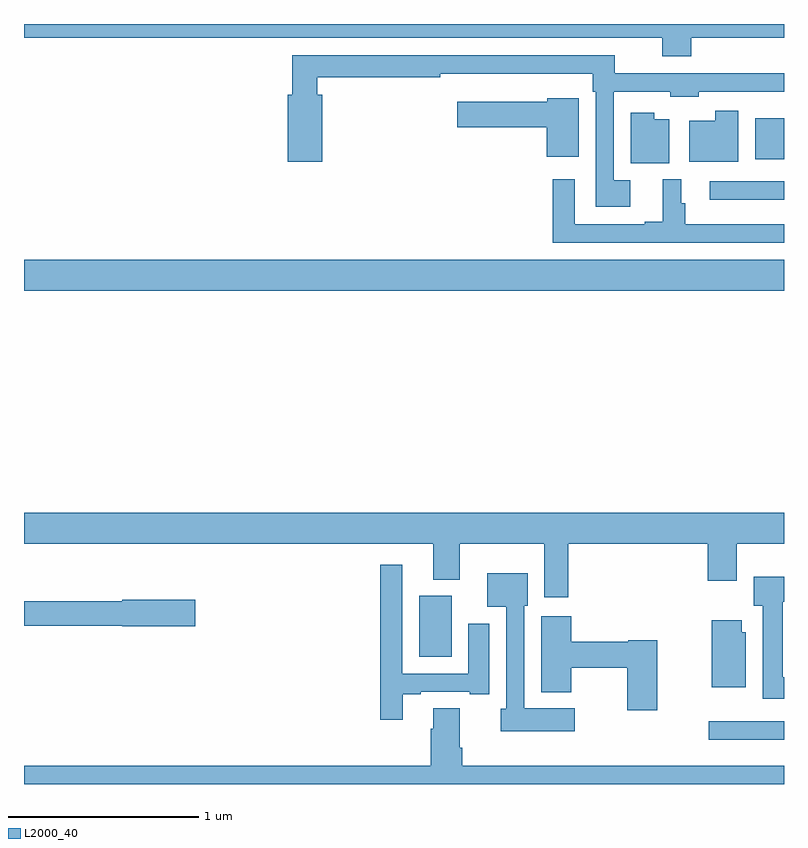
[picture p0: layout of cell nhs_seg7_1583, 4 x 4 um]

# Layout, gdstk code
import gdstk
lib = gdstk.Library(unit=1e-6, precision=1e-09)
def R(c, l, rs):  # rectangles x0, y0, x1, y1
    for r in rs: c.add(gdstk.rectangle(r[:2], r[2:], *l))
def P(c, l, *ps):  # polygons
    for p in ps: c.add(gdstk.Polygon(p, *l))
L2000_40 = (2000, 40)

nhs_seg7_1583 = lib.new_cell('nhs_seg7_1583')
R(nhs_seg7_1583, L2000_40, [(222.603,1018.232,223,1018.329), (221.081,1018.67,221.251,1018.99), (219,1020.596,223,1020.76), (222.609,1021.076,223,1021.173), (222.848,1021.289,223,1021.504)])
P(nhs_seg7_1583, L2000_40, [(222.512,1021.928),(223,1021.928),(223,1022),(219,1022),(219,1021.928),(222.359,1021.928),(222.359,1021.829),(222.512,1021.829)],
  [(222.19,1021.177),(222.105,1021.177),(222.105,1021.644),(222.402,1021.644),(222.402,1021.616),(222.552,1021.616),(222.552,1021.644),(222.856,1021.644),(222.856,1021.643),(223,1021.643),(223,1021.742),(222.108,1021.742),(222.108,1021.836),(220.411,1021.836),(220.411,1021.627),(220.388,1021.627),(220.388,1021.275),(220.571,1021.275),(220.571,1021.627),(220.543,1021.627),(220.543,1021.72),(221.192,1021.72),(221.192,1021.739),(221.993,1021.739),(221.993,1021.643),(222.009,1021.643),(222.009,1021.037),(222.19,1021.037)],
  [(221.92,1021.505),(221.919,1021.505),(221.919,1021.608),(221.754,1021.608),(221.754,1021.591),(221.28,1021.591),(221.28,1021.457),(221.75,1021.457),(221.75,1021.301),(221.92,1021.301)],
  [(222.76,1021.543),(222.638,1021.543),(222.638,1021.492),(222.5,1021.492),(222.5,1021.274),(222.76,1021.274)],
  [(222.397,1021.498),(222.316,1021.498),(222.316,1021.534),(222.194,1021.534),(222.194,1021.268),(222.397,1021.268)],
  [(223,1020.946),(222.479,1020.946),(222.479,1021.056),(222.46,1021.056),(222.46,1021.183),(222.362,1021.183),(222.362,1020.958),(222.266,1020.958),(222.266,1020.945),(221.898,1020.945),(221.898,1021.183),(221.782,1021.183),(221.782,1020.849),(223,1020.849)],
  [(221.864,1019.264),(222.599,1019.264),(222.599,1019.07),(222.751,1019.07),(222.751,1019.264),(223,1019.264),(223,1019.428),(219,1019.428),(219,1019.264),(221.153,1019.264),(221.153,1019.075),(221.293,1019.075),(221.293,1019.264),(221.738,1019.264),(221.738,1018.983),(221.864,1018.983)],
  [(220.993,1018.473),(221.089,1018.473),(221.089,1018.485),(221.345,1018.485),(221.345,1018.473),(221.449,1018.473),(221.449,1018.843),(221.339,1018.843),(221.339,1018.581),(220.992,1018.581),(220.992,1019.155),(220.876,1019.155),(220.876,1018.338),(220.993,1018.338)],
  [(221.899,1018.399),(221.634,1018.399),(221.634,1018.938),(221.65,1018.938),(221.65,1019.11),(221.438,1019.11),(221.438,1018.934),(221.538,1018.934),(221.538,1018.395),(221.51,1018.395),(221.51,1018.277),(221.899,1018.277)],
  [(223,1018.562),(222.994,1018.562),(222.994,1018.958),(223,1018.958),(223,1019.092),(222.842,1019.092),(222.842,1018.938),(222.887,1018.938),(222.887,1018.449),(223,1018.449)],
  [(219.901,1018.971),(219.516,1018.971),(219.516,1018.963),(219,1018.963),(219,1018.834),(219.516,1018.834),(219.516,1018.829),(219.901,1018.829)],
  [(222.334,1018.756),(222.18,1018.756),(222.18,1018.748),(221.88,1018.748),(221.88,1018.882),(221.723,1018.882),(221.723,1018.484),(221.88,1018.484),(221.88,1018.612),(222.176,1018.612),(222.176,1018.389),(222.334,1018.389)],
  [(222.799,1018.8),(222.778,1018.8),(222.778,1018.861),(222.62,1018.861),(222.62,1018.508),(222.799,1018.508)],
  [(223,1018.096),(221.306,1018.096),(221.306,1018.192),(221.293,1018.192),(221.293,1018.4),(221.153,1018.4),(221.153,1018.292),(221.141,1018.292),(221.141,1018.096),(219,1018.096),(219,1018),(223,1018)])

lib.write_gds('nhs_seg7_1583.gds')
